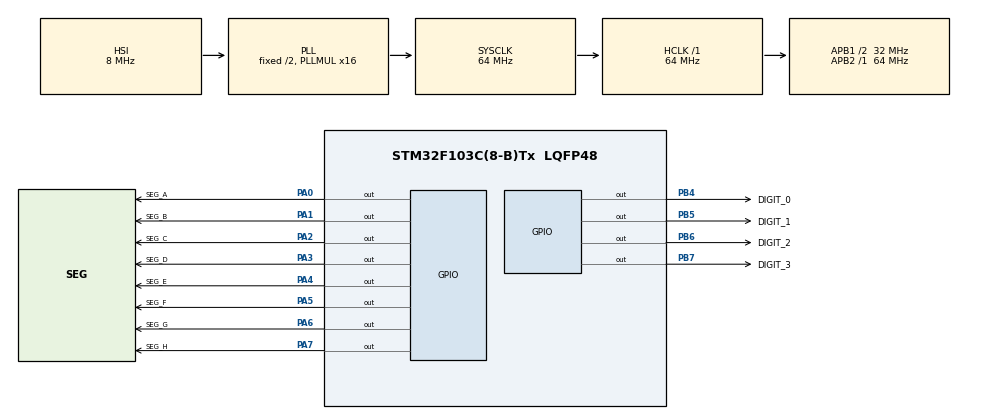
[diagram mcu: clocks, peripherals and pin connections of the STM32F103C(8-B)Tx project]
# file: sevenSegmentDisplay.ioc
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Mcu.Family=STM32F1
Mcu.Name=STM32F103C(8-B)Tx
Mcu.Package=LQFP48
NVIC.PriorityGroup=NVIC_PRIORITYGROUP_4
NVIC.TIM1_UP_IRQn=true\:0\:0\:false\:false\:true\:true\:true\:true
PA0-WKUP.GPIO_Label=SEG_A
PA0-WKUP.Signal=GPIO_Output
PA1.GPIO_Label=SEG_B
PA1.Signal=GPIO_Output
PA13.Mode=Serial_Wire
PA13.Signal=SYS_JTMS-SWDIO
PA14.Mode=Serial_Wire
PA14.Signal=SYS_JTCK-SWCLK
PA2.GPIO_Label=SEG_C
PA2.Signal=GPIO_Output
PA3.GPIO_Label=SEG_D
PA3.Signal=GPIO_Output
PA4.GPIO_Label=SEG_E
PA4.Signal=GPIO_Output
PA5.GPIO_Label=SEG_F
PA5.Signal=GPIO_Output
PA6.GPIO_Label=SEG_G
PA6.Signal=GPIO_Output
PA7.GPIO_Label=SEG_H
PA7.Signal=GPIO_Output
PB4.GPIO_Label=DIGIT_0
PB4.Signal=GPIO_Output
PB5.GPIO_Label=DIGIT_1
PB5.Signal=GPIO_Output
PB6.GPIO_Label=DIGIT_2
PB6.Signal=GPIO_Output
PB7.GPIO_Label=DIGIT_3
PB7.Signal=GPIO_Output
ProjectManager.HeapSize=0x200
ProjectManager.StackSize=0x400
ProjectManager.TargetToolchain=STM32CubeIDE
RCC.AHBFreq_Value=64000000
RCC.APB1CLKDivider=RCC_HCLK_DIV2
RCC.APB1Freq_Value=32000000
RCC.APB1TimFreq_Value=64000000
RCC.APB2Freq_Value=64000000
RCC.APB2TimFreq_Value=64000000
RCC.HCLKFreq_Value=64000000
RCC.PLLMUL=RCC_PLL_MUL16
RCC.SYSCLKFreq_VALUE=64000000
RCC.SYSCLKSource=RCC_SYSCLKSOURCE_PLLCLK
RCC.USBFreq_Value=64000000
TIM1.AutoReloadPreload=TIM_AUTORELOAD_PRELOAD_ENABLE
TIM1.Period=50
TIM1.Prescaler=6399
VP_TIM1_VS_ClockSourceINT.Mode=Internal
board=custom

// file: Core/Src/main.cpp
/* USER CODE BEGIN Header */
/**
  ******************************************************************************
  * @file           : main.c
  * @brief          : Main program body
  ******************************************************************************
  * @attention
  *
  * Copyright (c) 2022 STMicroelectronics.
  * All rights reserved.
  *
  * This software is licensed under terms that can be found in the LICENSE file
  * in the root directory of this software component.
  * If no LICENSE file comes with this software, it is provided AS-IS.
  *
  ******************************************************************************
  */
/* USER CODE END Header */
#include "main.h"
#include "tim.h"
#include "gpio.h"

/* USER CODE BEGIN Includes */

#include "../SevenSegmentDisplay/sevenSegmentDisplay.hpp"

/* USER CODE END Includes */

void SystemClock_Config(void);

/* USER CODE BEGIN 0 */

SevenSegmentDisplay<Port::A, 0, Port::B, 4> display;
//SevenSegmentDisplay<*GPIOA_BASE, *GPIOA_BASE> display;

void HAL_TIM_PeriodElapsedCallback(TIM_HandleTypeDef *htim)
{
  if (htim == &htim1) {
	  display.setUpdateFlag();
  }
}

/* USER CODE END 0 */

int main(void)
{

  /* MCU Configuration--------------------------------------------------------*/

  /* Reset of all peripherals, Initializes the Flash interface and the Systick. */
  HAL_Init();

  /* Configure the system clock */
  SystemClock_Config();

  /* Initialize all configured peripherals */
  MX_GPIO_Init();
  MX_TIM1_Init();
  /* USER CODE BEGIN 2 */

  HAL_TIM_Base_Start_IT(&htim1);

  //display.setNumber(0);

  /* USER CODE END 2 */

  /* Infinite loop */
  /* USER CODE BEGIN WHILE */
  uint32_t last_ms = HAL_GetTick();
  uint16_t i = 0;
  uint8_t dots;
  while (1)
  {

	  display.update();
	  uint32_t now = HAL_GetTick();
	  if (now - last_ms >= 50) {
		  last_ms = now;
		  i++;
		  if(i > 9999) i = 0;
		  display.setNumber(i);
		  if(!(i % 27)){
			  dots++;
			  if(dots > 0x0f) dots = 0;
			  display.setDots(dots);
		  }
	  }
    /* USER CODE END WHILE */

  }
}

void SystemClock_Config(void)
{
  RCC_OscInitTypeDef RCC_OscInitStruct = {0};
  RCC_ClkInitTypeDef RCC_ClkInitStruct = {0};

  /** Initializes the RCC Oscillators according to the specified parameters
  * in the RCC_OscInitTypeDef structure.
  */
  RCC_OscInitStruct.OscillatorType = RCC_OSCILLATORTYPE_HSI;
  RCC_OscInitStruct.HSIState = RCC_HSI_ON;
  RCC_OscInitStruct.HSICalibrationValue = RCC_HSICALIBRATION_DEFAULT;
  RCC_OscInitStruct.PLL.PLLState = RCC_PLL_ON;
  RCC_OscInitStruct.PLL.PLLSource = RCC_PLLSOURCE_HSI_DIV2;
  RCC_OscInitStruct.PLL.PLLMUL = RCC_PLL_MUL16;
  if (HAL_RCC_OscConfig(&RCC_OscInitStruct) != HAL_OK)
  {
    Error_Handler();
  }

  /** Initializes the CPU, AHB and APB buses clocks
  */
  RCC_ClkInitStruct.ClockType = RCC_CLOCKTYPE_HCLK|RCC_CLOCKTYPE_SYSCLK
                              |RCC_CLOCKTYPE_PCLK1|RCC_CLOCKTYPE_PCLK2;
  RCC_ClkInitStruct.SYSCLKSource = RCC_SYSCLKSOURCE_PLLCLK;
  RCC_ClkInitStruct.AHBCLKDivider = RCC_SYSCLK_DIV1;
  RCC_ClkInitStruct.APB1CLKDivider = RCC_HCLK_DIV2;
  RCC_ClkInitStruct.APB2CLKDivider = RCC_HCLK_DIV1;

  if (HAL_RCC_ClockConfig(&RCC_ClkInitStruct, FLASH_LATENCY_2) != HAL_OK)
  {
    Error_Handler();
  }
}

void Error_Handler(void)
{
  __disable_irq();
  while (1)
  {
  }
}
